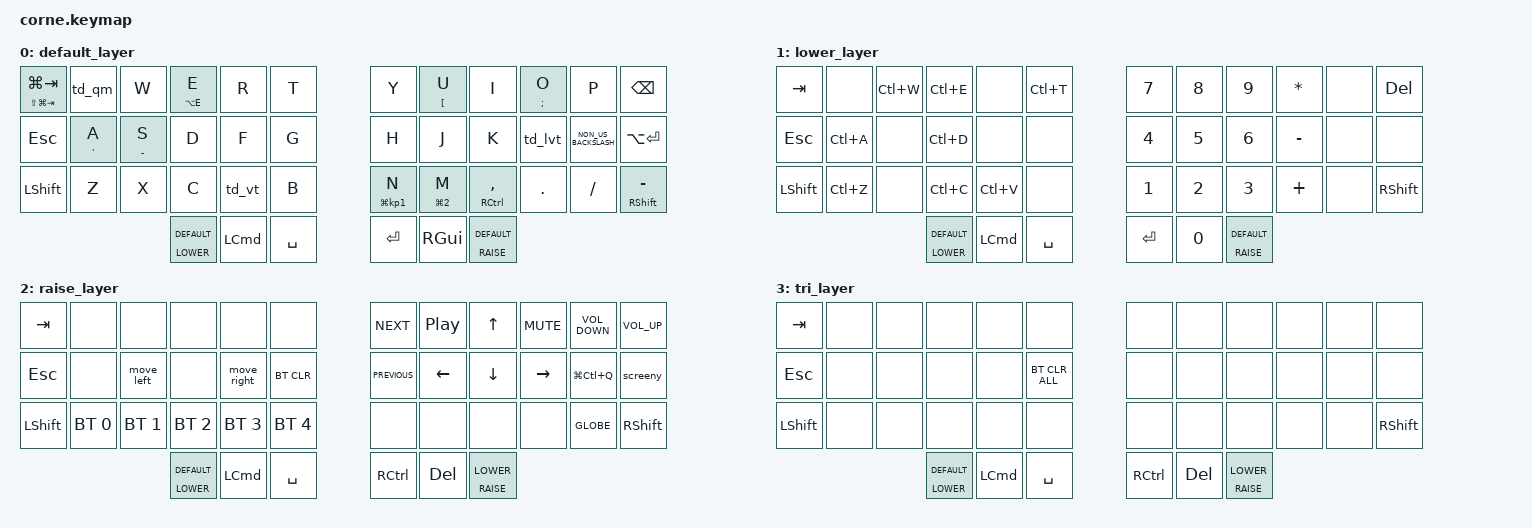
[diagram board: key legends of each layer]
#include <behaviors.dtsi>
#include <dt-bindings/zmk/bt.h>
#include <dt-bindings/zmk/keys.h>

#define DEFAULT 0
#define LOWER 1
#define RAISE 2

// Media controls

#define VOL_DOWN C_VOLUME_DOWN
#define VOL_UP C_VOLUME_UP
#define VOL_MUTE K_MUTE
#define PREV C_PREVIOUS
#define PLAY C_PLAY_PAUSE
#define NEXT C_NEXT

// Display controls

#define BRIGHT C_BRIGHTNESS_INC
#define DARK C_BRIGHTNESS_DEC

// Window controls

#define APPS C_AC_DESKTOP_SHOW_ALL_WINDOWS
#define SEARCH C_AC_SEARCH

/ {
    behaviors {
        htl: hold_tab_layer {
            compatible = "zmk,behavior-hold-tap";
            label = "HOLD_TAB_LAYER";
            #binding-cells = <2>;
            tapping-term-ms = <150>;
            quick_tap_ms = <0>;
            flavor = "balanced";
            bindings = <&mo>, <&to>;
        };

        hm: homerow_mods {
            compatible = "zmk,behavior-hold-tap";
            label = "HOMEROW_MODS";
            #binding-cells = <2>;
            tapping-term-ms = <250>;
            quick_tap_ms = <0>;
            flavor = "tap-preferred";
            bindings = <&kp>, <&kp>;
        };

        // different key press on each press (LSHFT -> CAPS Lock)
        // https://zmk.dev/docs/behaviors/tap-dance

        td_qm: td_qm {
            compatible = "zmk,behavior-tap-dance";
            label = "TD_QM";
            #binding-cells = <0>;
            tapping-term-ms = <100>;
            bindings = <&kp Q>, <&double_q>, <&input_qm>;
        };

        td_lvt: td_lvt {
            compatible = "zmk,behavior-tap-dance";
            label = "TD_LVT";
            #binding-cells = <0>;
            tapping-term-ms = <100>;
            bindings = <&kp L>, <&double_l>, <&input_lvt>;
        };

        td_vt: td_vt {
            compatible = "zmk,behavior-tap-dance";
            label = "TD_VT";
            #binding-cells = <0>;
            tapping-term-ms = <100>;
            bindings = <&kp V>, <&double_v>, <&input_vt>;
        };
    };

    combos {
        compatible = "zmk,combos";

        combo_brace_left {
            timeout-ms = <30>;
            key-positions = <15 16>;
            bindings = <&kp LA(N7)>;
        };

        combo_bracket_left {
            timeout-ms = <30>;
            key-positions = <16 17>;
            bindings = <&kp LA(NUMBER_8)>;
        };

        combo_bracket_right {
            timeout-ms = <30>;
            key-positions = <18 19>;
            bindings = <&kp LA(N9)>;
        };

        combo_brace_right {
            timeout-ms = <30>;
            key-positions = <19 20>;
            bindings = <&kp LA(N0)>;
        };

        combo_pipe {
            timeout-ms = <30>;
            key-positions = <27 28>;
            bindings = <&kp LA(GRAVE)>;
        };

        combo_parenthesis_left {
            timeout-ms = <30>;
            key-positions = <28 29>;
            bindings = <&kp LS(N8)>;
        };

        combo_parenthesis_right {
            timeout-ms = <30>;
            key-positions = <30 31>;
            bindings = <&kp LS(NUMBER_9)>;
        };

        backlash {
            bindings = <&kp LA(MINUS)>;
            key-positions = <31 32>;
        };

        option {
            bindings = <&kp LEFT_ALT>;
            key-positions = <38 37>;
        };

        double_quote {
            bindings = <&kp LS(NUMBER_2)>;
            key-positions = <6 7>;
        };

        single_quote {
            bindings = <&kp RS(HASH)>;
            key-positions = <5 4>;
        };

        atsign {
            bindings = <&kp LA(Q)>;
            key-positions = <3 4>;
        };

        qmm {
            bindings = <&input_qm>;
            key-positions = <1 2>;
        };
    };

    conditional_layers {
        compatible = "zmk,conditional-layers";

        tri_layer {
            if-layers = <1 2>;
            then-layer = <3>;
        };
    };

    macros {
        input_qm: input_qm {
            compatible = "zmk,behavior-macro";
            #binding-cells = <0>;
            bindings = <&kp LS(Q) &kp U &kp A &kp R &kp T &kp E &kp T &kp T &kp SPACE &kp M &kp O &kp B &kp I &kp L &kp E>;
            label = "INPUT_QM";
            wait-ms = <50>;
            tap-ms = <50>;
        };

        input_vt: input_vt {
            compatible = "zmk,behavior-macro";
            #binding-cells = <0>;
            bindings = <&kp V &kp O &kp N &kp SPACE &kp LS(T) &kp I &kp P &kp P &kp E &kp L &kp S &kp K &kp I &kp R &kp C &kp H>;
            label = "INPUT_VT";
            wait-ms = <50>;
            tap-ms = <50>;
        };

        input_lvt: input_lvt {
            compatible = "zmk,behavior-macro";
            #binding-cells = <0>;
            bindings = <&kp LS(L) &kp E &kp O &kp N &kp SPACE &kp V &kp PERIOD &kp SPACE &kp LS(T) &kp I &kp P &kp P &kp E &kp L &kp S &kp K &kp I &kp R &kp C &kp H>;
            label = "INPUT_LVT";
            wait-ms = <50>;
            tap-ms = <50>;
        };

        screeny: screeny {
            compatible = "zmk,behavior-macro";
            #binding-cells = <0>;
            bindings = <&kp LG(LS(NUMBER_4)) SPACE &kp SPACE>;
            label = "SCREENY";
            wait-ms = <50>;
            tap-ms = <50>;
        };

        double_l: double_l {
            compatible = "zmk,behavior-macro";
            #binding-cells = <0>;
            bindings = <&kp L &kp L>;
            label = "DOUBLE_L";
            wait-ms = <50>;
            tap-ms = <50>;
        };

        double_v: double_v {
            compatible = "zmk,behavior-macro";
            #binding-cells = <0>;
            bindings = <&kp V &kp V>;
            label = "DOUBLE_V";
            wait-ms = <50>;
            tap-ms = <50>;
        };

        double_q: double_q {
            compatible = "zmk,behavior-macro";
            #binding-cells = <0>;
            bindings = <&kp Q &kp Q>;
            label = "DOUBLE_Q";
            wait-ms = <50>;
            tap-ms = <50>;
        };

        move_left: move_left {
            compatible = "zmk,behavior-macro";
            #binding-cells = <0>;
            bindings = <&kt RCTRL &kt GLOBE &kp LEFT &kt GLOBE &kt RCTRL>;
            label = "MOVE_LEFT";
            wait-ms = <10>;
            tap-ms = <10>;
        };

        move_right: move_right {
            compatible = "zmk,behavior-macro";
            #binding-cells = <0>;
            bindings = <&kt RCTRL &kt GLOBE &kp RIGHT &kt GLOBE &kt RCTRL>;
            label = "MOVE_RIGHT";
            wait-ms = <10>;
            tap-ms = <10>;
        };
    };

    // cheat-sheet https://peccu.github.io/zmk-cheat-sheet/

    keymap {
        compatible = "zmk,keymap";

        default_layer {
            bindings = <
&hm LS(LG(TAB)) LG(TAB)  &td_qm     &kp W        &hm LA(E) E         &kp R     &kp T        &kp Y                  &hm LEFT_BRACKET U  &kp I               &hm SEMICOLON O  &kp P                 &kp BSPC
&kp ESC                  &hm SQT A  &hm MINUS S  &kp D               &kp F     &kp G        &kp H                  &kp J               &kp K               &td_lvt          &kp NON_US_BACKSLASH  &kp LA(ENTER)
&kp LSHFT                &kp Z      &kp X        &kp C               &td_vt    &kp B        &hm LG(KP_NUMBER_1) N  &hm LG(N2) M        &hm RCTRL COMMA     &kp DOT          &kp SLASH             &hm RIGHT_SHIFT MINUS
                                                 &htl LOWER DEFAULT  &kp LCMD  &kp SPACE    &kp ENTER              &kp RIGHT_GUI       &htl RAISE DEFAULT
            >;
        };

        lower_layer {
            bindings = <
&kp TAB         &none      &kp LC(W)  &kp LC(E)           &none      &kp LC(T)    &kp N7        &kp N8        &kp N9              &kp ASTERISK  &none  &kp DEL
&kp ESC         &kp LC(A)  &none      &kp LC(D)           &none      &none        &kp NUMBER_4  &kp N5        &kp NUMBER_6        &kp MINUS     &none  &none
&kp LEFT_SHIFT  &kp LC(Z)  &none      &kp LC(C)           &kp LC(V)  &none        &kp NUMBER_1  &kp NUMBER_2  &kp NUMBER_3        &kp PLUS      &none  &kp RIGHT_SHIFT
                                      &htl LOWER DEFAULT  &kp LCMD   &kp SPACE    &kp ENTER     &kp N0        &htl RAISE DEFAULT
            >;
        };

        raise_layer {
            bindings = <
&kp TAB     &none         &none         &none               &none         &none           &kp C_NEXT         &kp C_PLAY_PAUSE  &kp UP_ARROW      &kp K_MUTE  &kp C_VOLUME_DOWN  &kp C_VOLUME_UP
&kp ESC     &none         &move_left    &none               &move_right   &bt BT_CLR      &kp C_PREVIOUS     &kp LEFT          &kp DOWN          &kp RIGHT   &kp LG(LC(Q))      &screeny
&kp LSHIFT  &bt BT_SEL 0  &bt BT_SEL 1  &bt BT_SEL 2        &bt BT_SEL 3  &bt BT_SEL 4    &none              &none             &none             &none       &kp GLOBE          &kp RIGHT_SHIFT
                                        &htl LOWER DEFAULT  &kp LCMD      &kp SPACE       &kp RIGHT_CONTROL  &kp DEL           &htl RAISE LOWER
            >;
        };

        tri_layer {
            bindings = <
&kp TAB     &none  &none  &none               &none     &none             &none              &none    &none             &none  &none  &none
&kp ESC     &none  &none  &none               &none     &bt BT_CLR_ALL    &none              &none    &none             &none  &none  &none
&kp LSHIFT  &none  &none  &none               &none     &none             &none              &none    &none             &none  &none  &kp RIGHT_SHIFT
                          &htl LOWER DEFAULT  &kp LCMD  &kp SPACE         &kp RIGHT_CONTROL  &kp DEL  &htl RAISE LOWER
            >;
        };
    };
};
